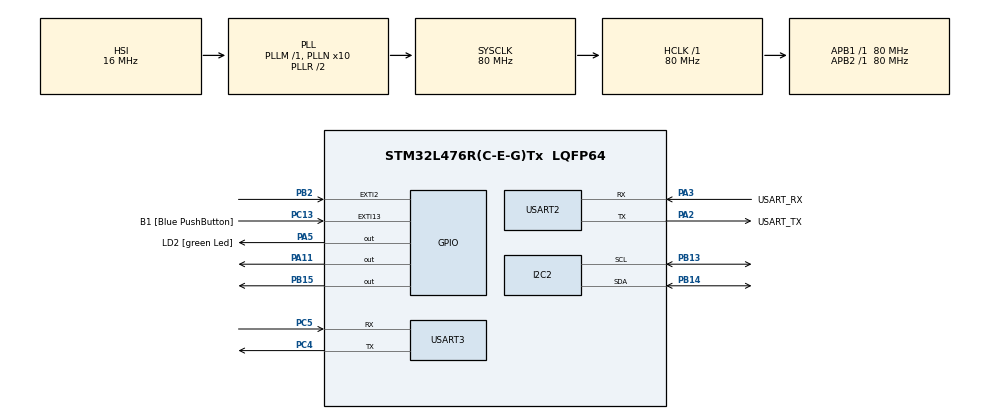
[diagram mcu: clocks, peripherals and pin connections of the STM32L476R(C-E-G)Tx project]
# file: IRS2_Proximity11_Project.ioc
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I2C2.Timing=0x10909CEC
Mcu.Family=STM32L4
Mcu.Name=STM32L476R(C-E-G)Tx
Mcu.Package=LQFP64
NVIC.EXTI2_IRQn=true\:0\:0\:false\:false\:true\:true\:true\:true
NVIC.PriorityGroup=NVIC_PRIORITYGROUP_4
NVIC.USART2_IRQn=true\:0\:0\:false\:false\:true\:true\:true\:true
NVIC.USART3_IRQn=true\:0\:0\:false\:false\:true\:true\:true\:true
PA11.Signal=GPIO_Output
PA13\ (JTMS-SWDIO).GPIO_Label=TMS
PA13\ (JTMS-SWDIO).Mode=Serial_Wire
PA13\ (JTMS-SWDIO).Signal=SYS_JTMS-SWDIO
PA14\ (JTCK-SWCLK).GPIO_Label=TCK
PA14\ (JTCK-SWCLK).Mode=Serial_Wire
PA14\ (JTCK-SWCLK).Signal=SYS_JTCK-SWCLK
PA2.GPIO_Label=USART_TX
PA2.GPIO_Mode=GPIO_MODE_AF_PP
PA2.GPIO_PuPd=GPIO_NOPULL
PA2.GPIO_Speed=GPIO_SPEED_FREQ_VERY_HIGH
PA2.Mode=Asynchronous
PA2.Signal=USART2_TX
PA3.GPIO_Label=USART_RX
PA3.GPIO_Mode=GPIO_MODE_AF_PP
PA3.GPIO_PuPd=GPIO_NOPULL
PA3.GPIO_Speed=GPIO_SPEED_FREQ_VERY_HIGH
PA3.Mode=Asynchronous
PA3.Signal=USART2_RX
PA5.GPIO_Label=LD2 [green Led]
PA5.GPIO_ModeDefaultOutputPP=GPIO_MODE_OUTPUT_PP
PA5.GPIO_PuPd=GPIO_NOPULL
PA5.GPIO_Speed=GPIO_SPEED_FREQ_LOW
PA5.Signal=GPIO_Output
PB13.Mode=I2C
PB13.Signal=I2C2_SCL
PB14.Mode=I2C
PB14.Signal=I2C2_SDA
PB15.Signal=GPIO_Output
PB2.GPIO_ModeDefaultEXTI=GPIO_MODE_IT_FALLING
PB2.Signal=GPXTI2
PB3\ (JTDO-TRACESWO).GPIO_Label=SWO
PB3\ (JTDO-TRACESWO).Signal=SYS_JTDO-SWO
PC13.GPIO_Label=B1 [Blue PushButton]
PC13.GPIO_ModeDefaultEXTI=GPIO_MODE_IT_FALLING
PC13.GPIO_PuPd=GPIO_NOPULL
PC13.Signal=GPXTI13
PC14-OSC32_IN\ (PC14).Mode=LSE-External-Oscillator
PC14-OSC32_IN\ (PC14).Signal=RCC_OSC32_IN
PC15-OSC32_OUT\ (PC15).Mode=LSE-External-Oscillator
PC15-OSC32_OUT\ (PC15).Signal=RCC_OSC32_OUT
PC4.Mode=Asynchronous
PC4.Signal=USART3_TX
PC5.Mode=Asynchronous
PC5.Signal=USART3_RX
PH0-OSC_IN\ (PH0).Signal=RCC_OSC_IN
PH1-OSC_OUT\ (PH1).Signal=RCC_OSC_OUT
ProjectManager.HeapSize=0x200
ProjectManager.StackSize=0x400
ProjectManager.TargetToolchain=STM32CubeIDE
RCC.ADCFreq_Value=64000000
RCC.AHBFreq_Value=80000000
RCC.APB1Freq_Value=80000000
RCC.APB1TimFreq_Value=80000000
RCC.APB2Freq_Value=80000000
RCC.APB2TimFreq_Value=80000000
RCC.CortexFreq_Value=80000000
RCC.HCLKFreq_Value=80000000
RCC.HSE_VALUE=8000000
RCC.HSI_VALUE=16000000
RCC.MSI_VALUE=4000000
RCC.PLLN=10
RCC.PLLSourceVirtual=RCC_PLLSOURCE_HSI
RCC.PREFETCH_ENABLE=1
RCC.SYSCLKFreq_VALUE=80000000
RCC.SYSCLKSource=RCC_SYSCLKSOURCE_PLLCLK
RCC.USBFreq_Value=64000000
RCC.VCOOutputFreq_Value=160000000
USART2.VirtualMode-Asynchronous=VM_ASYNC
USART3.VirtualMode-Asynchronous=VM_ASYNC
board=NUCLEO-L476RG

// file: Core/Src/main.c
/* USER CODE BEGIN Header */
/**
  ******************************************************************************
  * @file           : main.c
  * @brief          : Main program body
  ******************************************************************************
  * @attention
  *
  * Copyright (c) 2024 STMicroelectronics.
  * All rights reserved.
  *
  * This software is licensed under terms that can be found in the LICENSE file
  * in the root directory of this software component.
  * If no LICENSE file comes with this software, it is provided AS-IS.
  *
  ******************************************************************************
  */
/* USER CODE END Header */
#include "main.h"
#include "i2c.h"
#include "usart.h"
#include "gpio.h"

/* USER CODE BEGIN Includes */
#include "string.h"
#include "stdio.h"
#include "stdlib.h"
#include "proximity11.h"
/* USER CODE END Includes */

void SystemClock_Config(void);

/* USER CODE BEGIN 0 */
static uint8_t interrupt_reg_value;
static uint8_t als_flag = 0;
static uint8_t ps_flag = 0;
//char warning_ps[] = "Proximity detected!\r\n";
//char warning_als[] = "Light in room detected!\r\n";
char command_warning_ps[] = "AT+MQTTPUB=0,\"test_proximity11\",\"Proximity detected!\",1,0\r\n";
char command_warning_als[] = "AT+MQTTPUB=0,\"test_proximity11\",\"Light in room detected!\",1,0\r\n";
int __io_putchar(int ch)
{
	HAL_UART_Transmit(&huart2, (uint8_t *)(&ch), 1, 10);
	return ch;
}
void application_init (void)
{
    uint8_t init_status;

    init_status = proximity11_default_cfg( &hi2c2 );

    if(init_status == 1)
	{
    	printf("Application init failed!\r\n");
	}
	else if (init_status == 0)
	{
		printf("Application init success!\r\n");
	}
}
void HAL_GPIO_EXTI_Callback(uint16_t GPIO_Pin)
{

	if(GPIO_Pin == GPIO_PIN_2)
	{

		proximity11_get( &hi2c2, PROXIMITY11_INTERRUPT, &interrupt_reg_value, 1 );
		if( (interrupt_reg_value & 0x80 ) == 0x80)
		{
			//printf("Proximity detected!\r\n");
			HAL_GPIO_TogglePin(GPIOA, GPIO_PIN_11);
			ps_flag = 1;
		}
		else{
			ps_flag = 0;
		}

		if ( (interrupt_reg_value & 0x40 ) == 0x40)
		{
			//printf("Light in room detected!\r\n");
			HAL_GPIO_TogglePin(GPIOB, GPIO_PIN_15);
			als_flag = 1;
		}
		else{
			als_flag = 0;
		}

	}
}
uint8_t rx_data2[10], rx_data3[10];
uint8_t tx_data2[10], tx_data3[10];
HAL_StatusTypeDef my_status;

void ConnectToWiFi(void){
	char command1[] = "AT\r\n";
	char command2[] = "AT+CWMODE=3\r\n";
	char command3[] = "AT+CWJAP=\"Lab18a\",\"elektron1ka\"\r\n";
	char command4[] = "AT+MQTTUSERCFG=0,1,\"aleksandar1\",\"aleks\",\"aleks\",0,0,\"\"\r\n";
	char command5[] = "AT+MQTTUSERCFG=0,1,\"aleksandar1\",\"aleks\",\"aleks\",0,0,\"\"\r\n";
	char command6[] = "AT+MQTTCONN=0,\"broker.hivemq.com\",1883,1\r\n";
	char command7[] = "AT+MQTTSUB=0,\"test_proximity11\",1\r\n";

	my_status = HAL_UART_Transmit(&huart3, (uint8_t *)&command1, strlen(command1), HAL_MAX_DELAY);
	HAL_Delay(1500);
	my_status = HAL_UART_Transmit(&huart3, (uint8_t *)&command2, strlen(command2), HAL_MAX_DELAY);
	HAL_Delay(1500);
	my_status = HAL_UART_Transmit(&huart3, (uint8_t *)&command3, strlen(command3), HAL_MAX_DELAY);
	HAL_Delay(1500);
	my_status = HAL_UART_Transmit(&huart3, (uint8_t *)&command4, strlen(command4), HAL_MAX_DELAY);
	HAL_Delay(1500);
	my_status = HAL_UART_Transmit(&huart3, (uint8_t *)&command5, strlen(command5), HAL_MAX_DELAY);
	HAL_Delay(1500);
	my_status = HAL_UART_Transmit(&huart3, (uint8_t *)&command6, strlen(command6), HAL_MAX_DELAY);
	HAL_Delay(1500);
	my_status = HAL_UART_Transmit(&huart3, (uint8_t *)&command7, strlen(command7), HAL_MAX_DELAY);
	HAL_Delay(2000);
}
void HAL_UART_RxCpltCallback(UART_HandleTypeDef *huart)
{
	if (huart->Instance == USART2)
	{
		tx_data3[0] = rx_data2[0];
		my_status = HAL_UART_Receive_IT(&huart2,  (uint8_t *)&rx_data2, 1);
		HAL_UART_AbortTransmit_IT(&huart3);
		my_status = HAL_UART_Transmit_IT(&huart3,  (uint8_t *)&tx_data3, 1);
	}
	else if (huart->Instance == USART3)
	{
		tx_data2[0] = rx_data3[0];
		my_status = HAL_UART_Receive_IT(&huart3,  (uint8_t *)&rx_data3, 1);
		HAL_UART_AbortTransmit_IT(&huart2);
		my_status = HAL_UART_Transmit_IT(&huart2,  (uint8_t *)&tx_data2, 1);
	}
}
/* USER CODE END 0 */

int main(void)
{
  /* USER CODE BEGIN 1 */
//	uint16_t ps_value;
//	float als_value;
//	char ps_str[100];
//	char als_str[100];
  /* USER CODE END 1 */

  /* MCU Configuration--------------------------------------------------------*/

  /* Reset of all peripherals, Initializes the Flash interface and the Systick. */
  HAL_Init();

  /* Configure the system clock */
  SystemClock_Config();

  /* Initialize all configured peripherals */
  MX_GPIO_Init();
  MX_USART2_UART_Init();
  MX_I2C2_Init();
  MX_USART3_UART_Init();
  /* USER CODE BEGIN 2 */
  application_init();

  /* USER CODE END 2 */

  /* Infinite loop */
  /* USER CODE BEGIN WHILE */
  HAL_UART_Receive_IT(&huart2,  (uint8_t *)&rx_data2, 1);
  HAL_UART_Receive_IT(&huart3,  (uint8_t *)&rx_data3, 1);
  ConnectToWiFi();
  HAL_NVIC_EnableIRQ(EXTI2_IRQn);
  while (1)
  {

    /* USER CODE END WHILE */

    /* USER CODE BEGIN 3 */
	  //proximity11_get_ps_als_values( &hi2c2, &ps_value, &als_value );
	  //sprintf(ps_str, "AT+MQTTPUB=0,\"test_proximity11\",\"ps_value: %d\",1,0\r\n", ps_value);
	  //sprintf(als_str, "AT+MQTTPUB=0,\"test_proximity11\",\"als_value: %.1f\",1,0\r\n", als_value);

	  //HAL_UART_Transmit(&huart3, (uint8_t *)&ps_str, strlen(ps_str), HAL_MAX_DELAY);
	  //HAL_Delay(200);
	  //HAL_UART_Transmit(&huart3, (uint8_t *)&als_str, strlen(als_str), HAL_MAX_DELAY);

	  if(ps_flag == 1){
		  HAL_UART_Transmit(&huart3, (uint8_t *)&command_warning_ps, strlen(command_warning_ps), HAL_MAX_DELAY);
		  HAL_Delay(1000);
	  }

	  if(als_flag == 1){
		  HAL_UART_Transmit(&huart3, (uint8_t *)&command_warning_als, strlen(command_warning_als), HAL_MAX_DELAY);
		  HAL_Delay(1000);
	  }

  }
  /* USER CODE END 3 */
}

void SystemClock_Config(void)
{
  RCC_OscInitTypeDef RCC_OscInitStruct = {0};
  RCC_ClkInitTypeDef RCC_ClkInitStruct = {0};

  /** Configure the main internal regulator output voltage
  */
  if (HAL_PWREx_ControlVoltageScaling(PWR_REGULATOR_VOLTAGE_SCALE1) != HAL_OK)
  {
    Error_Handler();
  }

  /** Initializes the RCC Oscillators according to the specified parameters
  * in the RCC_OscInitTypeDef structure.
  */
  RCC_OscInitStruct.OscillatorType = RCC_OSCILLATORTYPE_HSI;
  RCC_OscInitStruct.HSIState = RCC_HSI_ON;
  RCC_OscInitStruct.HSICalibrationValue = RCC_HSICALIBRATION_DEFAULT;
  RCC_OscInitStruct.PLL.PLLState = RCC_PLL_ON;
  RCC_OscInitStruct.PLL.PLLSource = RCC_PLLSOURCE_HSI;
  RCC_OscInitStruct.PLL.PLLM = 1;
  RCC_OscInitStruct.PLL.PLLN = 10;
  RCC_OscInitStruct.PLL.PLLP = RCC_PLLP_DIV7;
  RCC_OscInitStruct.PLL.PLLQ = RCC_PLLQ_DIV2;
  RCC_OscInitStruct.PLL.PLLR = RCC_PLLR_DIV2;
  if (HAL_RCC_OscConfig(&RCC_OscInitStruct) != HAL_OK)
  {
    Error_Handler();
  }

  /** Initializes the CPU, AHB and APB buses clocks
  */
  RCC_ClkInitStruct.ClockType = RCC_CLOCKTYPE_HCLK|RCC_CLOCKTYPE_SYSCLK
                              |RCC_CLOCKTYPE_PCLK1|RCC_CLOCKTYPE_PCLK2;
  RCC_ClkInitStruct.SYSCLKSource = RCC_SYSCLKSOURCE_PLLCLK;
  RCC_ClkInitStruct.AHBCLKDivider = RCC_SYSCLK_DIV1;
  RCC_ClkInitStruct.APB1CLKDivider = RCC_HCLK_DIV1;
  RCC_ClkInitStruct.APB2CLKDivider = RCC_HCLK_DIV1;

  if (HAL_RCC_ClockConfig(&RCC_ClkInitStruct, FLASH_LATENCY_4) != HAL_OK)
  {
    Error_Handler();
  }
}

void Error_Handler(void)
{
  __disable_irq();
  while (1)
  {
  }
}
